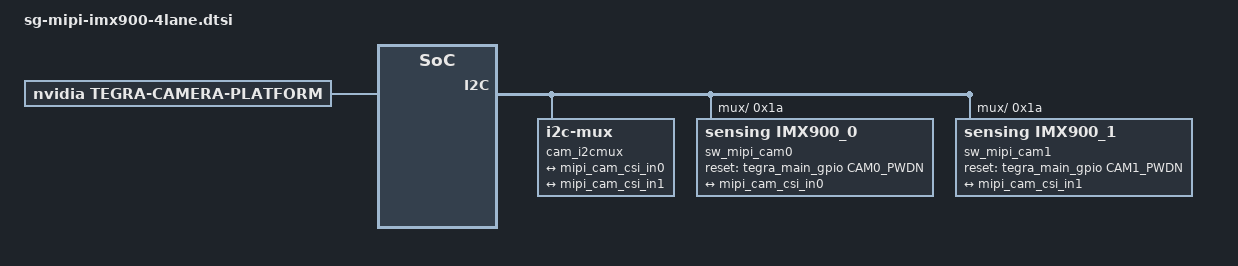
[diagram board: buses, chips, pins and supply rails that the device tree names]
/*
 * Copyright (c) 2022-2023, NVIDIA CORPORATION.  All rights reserved.
 *
 * This program is free software; you can redistribute it and/or modify
 * it under the terms of the GNU General Public License as published by
 * the Free Software Foundation; either version 2 of the License, or
 * (at your option) any later version.
 *
 * This program is distributed in the hope that it will be useful, but WITHOUT
 * ANY WARRANTY; without even the implied warranty of MERCHANTABILITY or
 * FITNESS FOR A PARTICULAR PURPOSE.  See the GNU General Public License for
 * more details.
 *
 * You should have received a copy of the GNU General Public License
 * along with this program.  If not, see <http://www.gnu.org/licenses/>.
 */
#define CAM0_PWDN	TEGRA234_MAIN_GPIO(H, 6)
#define CAM1_PWDN	TEGRA234_MAIN_GPIO(AC, 0)
#define CAM_I2C_MUX 	TEGRA234_AON_GPIO(CC, 3)

/ {
	tegra-capture-vi  {
		num-channels = <2>;
		ports {
			#address-cells = <1>;
			#size-cells = <0>;
			port@0 {
				reg = <0>;
				mipi_cam_vi_in0: endpoint {
					port-index = <0>;
					bus-width = <4>;
					remote-endpoint = <&mipi_cam_csi_out0>;
				};
			};
			port@1 {
				reg = <1>;
				mipi_cam_vi_in1: endpoint {
					port-index = <2>;
					bus-width = <4>;
					remote-endpoint = <&mipi_cam_csi_out1>;
				};
			};
		};
	};

	host1x@13e00000 {
		nvcsi@15a00000 {
			num-channels = <2>;
			#address-cells = <1>;
			#size-cells = <0>;
			channel@0 {
				reg = <0>;
				ports {
					#address-cells = <1>;
					#size-cells = <0>;
					port@0 {
						reg = <0>;
						mipi_cam_csi_in0: endpoint@0 {
							port-index = <0>;
							bus-width = <4>;
							remote-endpoint = <&mipi_cam_out0>;
						};
					};
					port@1 {
						reg = <1>;
						mipi_cam_csi_out0: endpoint@1 {
							remote-endpoint = <&mipi_cam_vi_in0>;
						};
					};
				};
			};
			channel@1 {
				reg = <1>;
				ports {
					#address-cells = <1>;
					#size-cells = <0>;
					port@0 {
						reg = <0>;
						mipi_cam_csi_in1: endpoint@2 {
							port-index = <2>;
							bus-width = <4>;
							remote-endpoint = <&mipi_cam_out1>;
						};
					};
					port@1 {
						reg = <1>;
						mipi_cam_csi_out1: endpoint@3 {
							remote-endpoint = <&mipi_cam_vi_in1>;
						};
					};
				};
			};
		};
	};

	cam_i2cmux {
		i2c@0 {
			sw_mipi_cam0: cam_0@1a {
				compatible = "sensing,imx900_0";
				/* I2C device address */
				reg = <0x1a>;

				/* V4L2 device node location */
				devnode = "video0";

				/* Physical dimensions of sensor */
				physical_w = "3.680";
				physical_h = "2.760";

				sensor_model = "imx900";

				use_sensor_mode_id = "true";

				reset-gpios = <&tegra_main_gpio CAM0_PWDN GPIO_ACTIVE_HIGH>;

				/**
				* ==== Modes ====
				*/
				mode0 {/*mode SENSOR_MODE_1920X1080_CROP_30FPS*/
					mclk_khz = "24000";
					num_lanes = "4";
					tegra_sinterface = "serial_b";
					phy_mode = "DPHY";
					discontinuous_clk = "no";
					dpcm_enable = "false";
					cil_settletime = "0";
					lane_polarity = "6";

					active_w = "2064";
					active_h = "1552";
					mode_type = "bayer";
					pixel_phase = "grbg";
					csi_pixel_bit_depth = "12";
					dynamic_pixel_bit_depth = "12";
					readout_orientation = "0";
					line_length = "3200";
					inherent_gain = "1";
					mclk_multiplier = "6.1875";
					pix_clk_hz = "200000000";
					serdes_pix_clk_hz = "400000000";
										
					gain_factor = "10";
					min_gain_val = "10"; /* dB */
					max_gain_val = "300"; /* dB */
					step_gain_val = "3"; /* 0.3 */
					default_gain = "10";
					min_hdr_ratio = "1";
					max_hdr_ratio = "1";
					framerate_factor = "1000000";
					min_framerate = "30000000";
					max_framerate = "30000000";
					step_framerate = "1";
					default_framerate = "30000000";
					exposure_factor = "1000000";
					min_exp_time = "59"; /*us, 2 lines*/
					max_exp_time = "33333";
					step_exp_time = "1";
					default_exp_time = "33333";/* us */
					embedded_metadata_height = "0";
				};

				ports {
					#address-cells = <1>;
					#size-cells = <0>;

					port@0 {
						reg = <0>;
						mipi_cam_out0: endpoint {
							port-index = <0>;
							bus-width = <4>;
							remote-endpoint = <&mipi_cam_csi_in0>;
						};
					};
				};
			};
		};
		i2c@1 {
			sw_mipi_cam1: cam_1@1a {
				compatible = "sensing,imx900_1";
				/* I2C device address */
				reg = <0x1a>;

				/* V4L2 device node location */
				devnode = "video1";

				/* Physical dimensions of sensor */
				physical_w = "3.680";
				physical_h = "2.760";

				sensor_model = "imx900";

				use_sensor_mode_id = "true";

				reset-gpios = <&tegra_main_gpio CAM1_PWDN GPIO_ACTIVE_HIGH>;

				mode0 {/*mode SENSOR_MODE_2064X1552_CROP_30FPS*/
					mclk_khz = "24000";
					num_lanes = "4";
					tegra_sinterface = "serial_c";
					phy_mode = "DPHY";
					discontinuous_clk = "no";
					dpcm_enable = "false";
					cil_settletime = "0";
					lane_polarity = "0";

					active_w = "2064";
					active_h = "1552";
					mode_type = "bayer";
					pixel_phase = "bggr";
					csi_pixel_bit_depth = "12";
					dynamic_pixel_bit_depth = "12";
					readout_orientation = "90";
					line_length = "2512";
					inherent_gain = "1";
					mclk_multiplier = "25";
					pix_clk_hz = "300000000";
					//serdes_pix_clk_hz = "400000000";
										
					gain_factor = "10";
					min_gain_val = "10"; /* 1.00x */
					max_gain_val = "480"; /* 22x */
					step_gain_val = "5";
					default_gain = "10"; /* 1.00x */
					min_hdr_ratio = "1";
					max_hdr_ratio = "1";
					framerate_factor = "1000000";
					min_framerate = "51000000";
					max_framerate = "51000000";
					step_framerate = "1";
					default_framerate = "51000000";
					exposure_factor = "1000000";
					min_exp_time = "12"; /*us, 2 lines*/
					max_exp_time = "19000";
					step_exp_time = "1";
					default_exp_time = "19000";/* us */
					embedded_metadata_height = "1";
				};

				ports {
					#address-cells = <1>;
					#size-cells = <0>;

					port@0 {
						reg = <0>;
						mipi_cam_out1: endpoint {
							port-index = <2>;
							bus-width = <4>;
							remote-endpoint = <&mipi_cam_csi_in1>;
						};
					};
				};
			};
		};
	};
};

/ {
	tegra-camera-platform {
		compatible = "nvidia, tegra-camera-platform";

		/**
		* Physical settings to calculate max ISO BW
		*
		* num_csi_lanes = <>;
		* Total number of CSI lanes when all cameras are active
		*
		* max_lane_speed = <>;
		* Max lane speed in Kbit/s
		*
		* min_bits_per_pixel = <>;
		* Min bits per pixel
		*
		* vi_peak_byte_per_pixel = <>;
		* Max byte per pixel for the VI ISO case
		*
		* vi_bw_margin_pct = <>;
		* Vi bandwidth margin in percentage
		*
		* max_pixel_rate = <>;
		* Max pixel rate in Kpixel/s for the ISP ISO case
		*
		* isp_peak_byte_per_pixel = <>;
		* Max byte per pixel for the ISP ISO case
		*
		* isp_bw_margin_pct = <>;
		* Isp bandwidth margin in percentage
		*/
		num_csi_lanes = <8>;
		max_lane_speed = <2500000>;
		min_bits_per_pixel = <10>;
		vi_peak_byte_per_pixel = <2>;
		vi_bw_margin_pct = <25>;
		max_pixel_rate = <7500000>;
		isp_peak_byte_per_pixel = <5>;
		isp_bw_margin_pct = <25>;

		/**
		 * The general guideline for naming badge_info contains 3 parts, and is as follows,
		 * The first part is the camera_board_id for the module; if the module is in a FFD
		 * platform, then use the platform name for this part.
		 * The second part contains the position of the module, ex. "rear" or "front".
		 * The third part contains the last 6 characters of a part number which is found
		 * in the module's specsheet from the vendor.
		 */
		modules {
			module0 {
				badge = "imx900_front";
				position = "front";
				orientation = "1";
				drivernode0 {
					pcl_id = "v4l2_sensor";
					devname = "imx900 9-001a";
					proc-device-tree = "/proc/device-tree/cam_i2cmux/i2c@0/cam_0@1a";
				};
			};
			module1 {
				badge = "imx900_rear";
				position = "rear";
				orientation = "1";
				drivernode0 {
					pcl_id = "v4l2_sensor";
					devname = "imx900 10-001a";
					proc-device-tree = "/proc/device-tree/cam_i2cmux/i2c@1/cam_1@1a";
				};
			};
		};
	};
};
